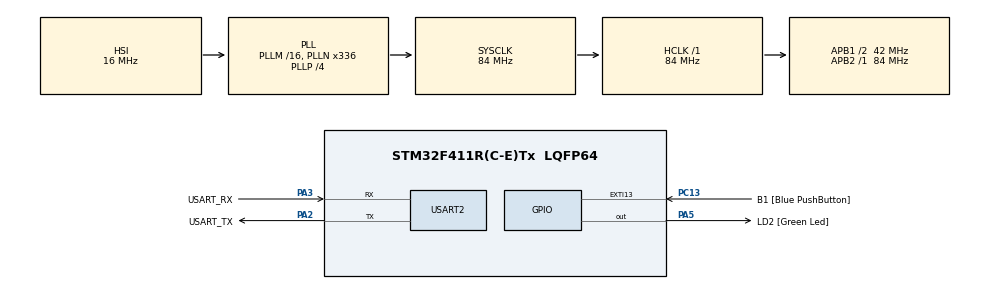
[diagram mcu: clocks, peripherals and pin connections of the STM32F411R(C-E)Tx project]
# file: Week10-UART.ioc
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Mcu.Family=STM32F4
Mcu.Name=STM32F411R(C-E)Tx
Mcu.Package=LQFP64
NVIC.PriorityGroup=NVIC_PRIORITYGROUP_0
NVIC.USART2_IRQn=true\:0\:0\:false\:false\:true\:true\:true
PA13.GPIO_Label=TMS
PA13.Mode=Serial_Wire
PA13.Signal=SYS_JTMS-SWDIO
PA14.GPIO_Label=TCK
PA14.Mode=Serial_Wire
PA14.Signal=SYS_JTCK-SWCLK
PA2.GPIO_Label=USART_TX
PA2.Mode=Asynchronous
PA2.Signal=USART2_TX
PA3.GPIO_Label=USART_RX
PA3.Mode=Asynchronous
PA3.Signal=USART2_RX
PA5.GPIO_Label=LD2 [Green Led]
PA5.Signal=GPIO_Output
PB3.GPIO_Label=SWO
PB3.Signal=SYS_JTDO-SWO
PC13-ANTI_TAMP.GPIO_Label=B1 [Blue PushButton]
PC13-ANTI_TAMP.GPIO_ModeDefaultEXTI=GPIO_MODE_IT_FALLING
PC13-ANTI_TAMP.Signal=GPXTI13
PC14-OSC32_IN.Mode=LSE-External-Oscillator
PC14-OSC32_IN.Signal=RCC_OSC32_IN
PC15-OSC32_OUT.Mode=LSE-External-Oscillator
PC15-OSC32_OUT.Signal=RCC_OSC32_OUT
PH0\ -\ OSC_IN.Mode=HSE-External-Clock-Source
PH0\ -\ OSC_IN.Signal=RCC_OSC_IN
PH1\ -\ OSC_OUT.Mode=HSE-External-Clock-Source
PH1\ -\ OSC_OUT.Signal=RCC_OSC_OUT
ProjectManager.HeapSize=0x200
ProjectManager.StackSize=0x400
ProjectManager.TargetToolchain=STM32CubeIDE
RCC.48MHZClocksFreq_Value=84000000
RCC.AHBFreq_Value=84000000
RCC.APB1CLKDivider=RCC_HCLK_DIV2
RCC.APB1Freq_Value=42000000
RCC.APB1TimFreq_Value=84000000
RCC.APB2Freq_Value=84000000
RCC.APB2TimFreq_Value=84000000
RCC.CortexFreq_Value=84000000
RCC.FLatency-AdvancedSettings=FLASH_LATENCY_2
RCC.HCLKFreq_Value=84000000
RCC.HSE_VALUE=8000000
RCC.HSI_VALUE=16000000
RCC.PLLN=336
RCC.PLLP=RCC_PLLP_DIV4
RCC.SYSCLKFreq_VALUE=84000000
RCC.SYSCLKSource=RCC_SYSCLKSOURCE_PLLCLK
RCC.VCOOutputFreq_Value=336000000
USART2.VirtualMode=VM_ASYNC
board=NUCLEO-F411RE

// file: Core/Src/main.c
/* USER CODE BEGIN Header */
/**
 ******************************************************************************
 * @file           : main.c
 * @brief          : Main program body
 ******************************************************************************
 * @attention
 *
 * <h2><center>&copy; Copyright (c) 2021 STMicroelectronics.
 * All rights reserved.</center></h2>
 *
 * This software component is licensed by ST under BSD 3-Clause license,
 * the "License"; You may not use this file except in compliance with the
 * License. You may obtain a copy of the License at:
 *                        opensource.org/licenses/BSD-3-Clause
 *
 ******************************************************************************
 */
/* USER CODE END Header */
#include "main.h"

/* USER CODE BEGIN Includes */
#include <stdio.h>
#include <string.h>
/* USER CODE END Includes */

UART_HandleTypeDef huart2;

/* USER CODE BEGIN PV */
GPIO_PinState Switchz[1];
char TxDataBuffer[32] =
{ 0 };
char RxDataBuffer[32] =
{ 0 };
int Mode = -1;
float hzled = 1.0;
int timestamp = 0;
int on_off = 0;

/* USER CODE END PV */

void SystemClock_Config(void);
static void MX_GPIO_Init(void);
static void MX_USART2_UART_Init(void);
/* USER CODE BEGIN PFP */
void UARTRecieveAndResponsePolling();
int16_t UARTRecieveIT();

/* USER CODE END PFP */

int main(void)
{

  /* MCU Configuration--------------------------------------------------------*/

  /* Reset of all peripherals, Initializes the Flash interface and the Systick. */
  HAL_Init();

  /* Configure the system clock */
  SystemClock_Config();

  /* Initialize all configured peripherals */
  MX_GPIO_Init();
  MX_USART2_UART_Init();
  /* USER CODE BEGIN 2 */
  char temp[]="------MENU------\r\n[0] LED Control\r\n[1] Button Status\r\n" ;
  char temp1[]="LED Control\r\n[a]Speed up 1hz\r\n[b]Speed down 1hz\r\n[c]On/Off\r\n[x]back\r\n" ;
  char temp2[]="Button1 Status\r\n[x]back\r\n";
  char temp3[]="Try again\r\n";
  char temp4[]="Button1 Pressed\r\n";
  char temp5[]="Button1 Unpressed\r\n";
  HAL_UART_Transmit(&huart2, (uint8_t*)temp, strlen(temp),10);
  /* USER CODE END 2 */

  /* Infinite loop */
  /* USER CODE BEGIN WHILE */
	while (1)
	{
		/*Method 1 Polling Mode*/ //bad implement

//		UARTRecieveAndResponsePolling();
		/*Method 2 Interrupt Mode*/
		HAL_UART_Receive_IT(&huart2,  (uint8_t*)RxDataBuffer, 32);

		/*Method 2 W/ 1 Char Received*/
		int16_t inputchar = UARTRecieveIT();
		switch(Mode){
		case -1:
			switch(inputchar){
				case -1:
					break;
				case 48: //0
					HAL_UART_Transmit(&huart2, (uint8_t*)temp1, strlen(temp1),10);
					Mode = 0;
					break;
				case 49: //1
					HAL_UART_Transmit(&huart2, (uint8_t*)temp2, strlen(temp2),10);
					Mode = 1;
					break;
				case 120: //x
					HAL_UART_Transmit(&huart2, (uint8_t*)temp, strlen(temp),10);
					Mode = -1;
					break;
				default:
					HAL_UART_Transmit(&huart2, (uint8_t*)temp3, strlen(temp3),10);
					break;
			}
			break;
		case 0:
			switch(inputchar){
				case -1:
					break;
				case 97: //a
					hzled += 1.0;
					break;
				case 98: //b
					if(hzled > 0){
						hzled -= 1.0;
					}
					break;
				case 99: //c
					if(on_off == 0){
						on_off = 1;
					}
					else if(on_off == 1){
						HAL_GPIO_WritePin(LD2_GPIO_Port, LD2_Pin, GPIO_PIN_RESET);
						on_off = 0;
					}
					break;
				case 120: //x
					HAL_UART_Transmit(&huart2, (uint8_t*)temp, strlen(temp),10);
					Mode = -1;
					break;
				default:
					HAL_UART_Transmit(&huart2, (uint8_t*)temp3, strlen(temp3),10);
					break;

			}
			break;
		case 1:
			Switchz[0] = HAL_GPIO_ReadPin(B1_GPIO_Port, B1_Pin);
			if(Switchz[0]== GPIO_PIN_RESET && Switchz[1]== GPIO_PIN_SET){
				HAL_UART_Transmit(&huart2, (uint8_t*)temp4, strlen(temp4),10);
			}
			if(Switchz[0]== GPIO_PIN_SET && Switchz[1]== GPIO_PIN_RESET){
				HAL_UART_Transmit(&huart2, (uint8_t*)temp5, strlen(temp5),10);
			}
			switch(inputchar){
				case -1:
					break;
				case 120: //x
					HAL_UART_Transmit(&huart2, (uint8_t*)temp, strlen(temp),10);
					Mode = -1;
					break;
				default:
					HAL_UART_Transmit(&huart2, (uint8_t*)temp3, strlen(temp3),10);
					break;
			}
			Switchz[1] = Switchz[0];
			break;
		}
		if(HAL_GetTick() - timestamp >= (1.0/hzled)*1000.0 && on_off == 1){
			timestamp = HAL_GetTick();
			HAL_GPIO_TogglePin(LD2_GPIO_Port, LD2_Pin);
		}
		/*This section just simmulate Work Load*/

    /* USER CODE END WHILE */

	}
}

void SystemClock_Config(void)
{
  RCC_OscInitTypeDef RCC_OscInitStruct = {0};
  RCC_ClkInitTypeDef RCC_ClkInitStruct = {0};

  /** Configure the main internal regulator output voltage
  */
  __HAL_RCC_PWR_CLK_ENABLE();
  __HAL_PWR_VOLTAGESCALING_CONFIG(PWR_REGULATOR_VOLTAGE_SCALE1);
  /** Initializes the RCC Oscillators according to the specified parameters
  * in the RCC_OscInitTypeDef structure.
  */
  RCC_OscInitStruct.OscillatorType = RCC_OSCILLATORTYPE_HSI;
  RCC_OscInitStruct.HSIState = RCC_HSI_ON;
  RCC_OscInitStruct.HSICalibrationValue = RCC_HSICALIBRATION_DEFAULT;
  RCC_OscInitStruct.PLL.PLLState = RCC_PLL_ON;
  RCC_OscInitStruct.PLL.PLLSource = RCC_PLLSOURCE_HSI;
  RCC_OscInitStruct.PLL.PLLM = 16;
  RCC_OscInitStruct.PLL.PLLN = 336;
  RCC_OscInitStruct.PLL.PLLP = RCC_PLLP_DIV4;
  RCC_OscInitStruct.PLL.PLLQ = 4;
  if (HAL_RCC_OscConfig(&RCC_OscInitStruct) != HAL_OK)
  {
    Error_Handler();
  }
  /** Initializes the CPU, AHB and APB buses clocks
  */
  RCC_ClkInitStruct.ClockType = RCC_CLOCKTYPE_HCLK|RCC_CLOCKTYPE_SYSCLK
                              |RCC_CLOCKTYPE_PCLK1|RCC_CLOCKTYPE_PCLK2;
  RCC_ClkInitStruct.SYSCLKSource = RCC_SYSCLKSOURCE_PLLCLK;
  RCC_ClkInitStruct.AHBCLKDivider = RCC_SYSCLK_DIV1;
  RCC_ClkInitStruct.APB1CLKDivider = RCC_HCLK_DIV2;
  RCC_ClkInitStruct.APB2CLKDivider = RCC_HCLK_DIV1;

  if (HAL_RCC_ClockConfig(&RCC_ClkInitStruct, FLASH_LATENCY_2) != HAL_OK)
  {
    Error_Handler();
  }
}

static void MX_USART2_UART_Init(void)
{

  huart2.Instance = USART2;
  huart2.Init.BaudRate = 115200;
  huart2.Init.WordLength = UART_WORDLENGTH_8B;
  huart2.Init.StopBits = UART_STOPBITS_1;
  huart2.Init.Parity = UART_PARITY_NONE;
  huart2.Init.Mode = UART_MODE_TX_RX;
  huart2.Init.HwFlowCtl = UART_HWCONTROL_NONE;
  huart2.Init.OverSampling = UART_OVERSAMPLING_16;
  if (HAL_UART_Init(&huart2) != HAL_OK)
  {
    Error_Handler();
  }

}

static void MX_GPIO_Init(void)
{
  GPIO_InitTypeDef GPIO_InitStruct = {0};

  /* GPIO Ports Clock Enable */
  __HAL_RCC_GPIOC_CLK_ENABLE();
  __HAL_RCC_GPIOH_CLK_ENABLE();
  __HAL_RCC_GPIOA_CLK_ENABLE();
  __HAL_RCC_GPIOB_CLK_ENABLE();

  /*Configure GPIO pin Output Level */
  HAL_GPIO_WritePin(LD2_GPIO_Port, LD2_Pin, GPIO_PIN_RESET);

  /*Configure GPIO pin : B1_Pin */
  GPIO_InitStruct.Pin = B1_Pin;
  GPIO_InitStruct.Mode = GPIO_MODE_IT_FALLING;
  GPIO_InitStruct.Pull = GPIO_NOPULL;
  HAL_GPIO_Init(B1_GPIO_Port, &GPIO_InitStruct);

  /*Configure GPIO pin : LD2_Pin */
  GPIO_InitStruct.Pin = LD2_Pin;
  GPIO_InitStruct.Mode = GPIO_MODE_OUTPUT_PP;
  GPIO_InitStruct.Pull = GPIO_NOPULL;
  GPIO_InitStruct.Speed = GPIO_SPEED_FREQ_LOW;
  HAL_GPIO_Init(LD2_GPIO_Port, &GPIO_InitStruct);

}

/* USER CODE BEGIN 4 */
void UARTRecieveAndResponsePolling()
{
	char Recieve[32]={0};

	HAL_UART_Receive(&huart2, (uint8_t*)Recieve, 32, 1000);

	sprintf(TxDataBuffer, "Received:[%s]\r\n", Recieve);
	HAL_UART_Transmit(&huart2, (uint8_t*)TxDataBuffer, strlen(TxDataBuffer), 1000);

}

int16_t UARTRecieveIT()
{
	static uint32_t dataPos =0;
	int16_t data=-1;
	if(huart2.RxXferSize - huart2.RxXferCount!=dataPos)
	{
		data=RxDataBuffer[dataPos];
		dataPos= (dataPos+1)%huart2.RxXferSize;
	}
	return data;
}

void HAL_UART_RxCpltCallback(UART_HandleTypeDef *huart)
{
	sprintf(TxDataBuffer, "Received:[%s]\r\n", RxDataBuffer);
	HAL_UART_Transmit(&huart2, (uint8_t*)TxDataBuffer, strlen(TxDataBuffer), 1000);
}
/* USER CODE END 4 */

void Error_Handler(void)
{
	__disable_irq();
	while (1)
	{
	}
}

/************************ (C) COPYRIGHT STMicroelectronics *****END OF FILE****/
